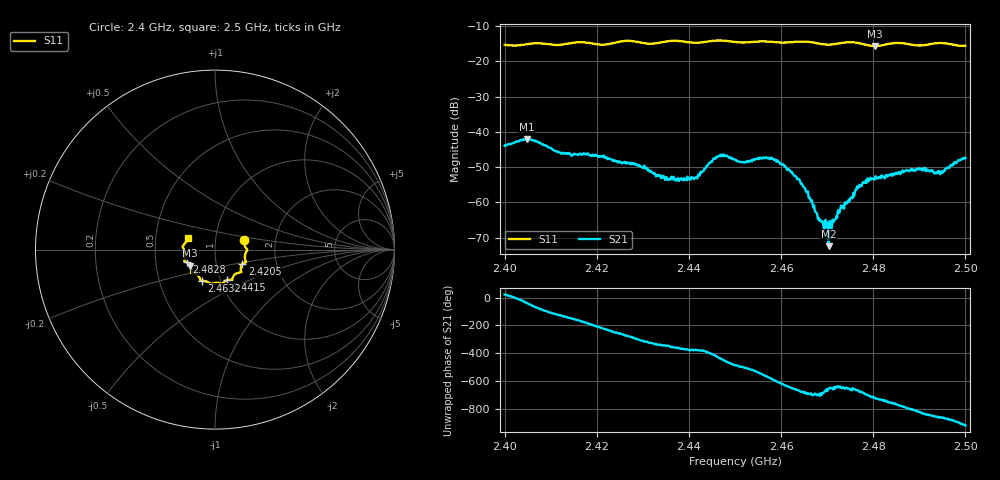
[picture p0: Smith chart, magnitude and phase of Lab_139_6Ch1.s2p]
# Hz S RI R 50
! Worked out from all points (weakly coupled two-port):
!   601 points, 2.4 GHz to 2.5 GHz, reference 50 ohm
!   highest |S21| = -42.02 dB at 2.4048 GHz (marker M1); lowest = -72.4 dB at 2.4703 GHz (marker M2)
!   lowest |S11| = -15.7 dB at 2.4803 GHz (marker M3), VSWR 1.39, Z = 37.3 - j6.84 ohm
!   |S11| at or under -10 dB: start of sweep to end of sweep
!   S12 and S22 are empty: the file has one direction only
!   S11 on the Smith chart (normalised r, x): 2.4 GHz: 1.38, +0.15; 2.4205 GHz: 1.34, -0.22; 2.4415 GHz: 1.07, -0.38; 2.4632 GHz: 0.82, -0.29; 2.4828 GHz: 0.72, -0.10; 2.5 GHz: 0.73, +0.10
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2.4e9  0.1635 0.0515  0.00592 0.00231  0 0  0 0
2.404833e9  0.1748 0.00514  0.00611 -0.00505  0 0  0 0
2.412333e9  0.1667 -0.0408  -0.00307 -0.0038  0 0  0 0
2.416667e9  0.173 -0.0699  -0.00475 -0.000845  0 0  0 0
2.4205e9  0.1521 -0.0816  -0.00385 0.00238  0 0  0 0
2.428167e9  0.1434 -0.1272  0.00119 0.00325  0 0  0 0
2.433333e9  0.1005 -0.1515  0.00226 0.000933  0 0  0 0
2.4415e9  0.0656 -0.1708  0.0022 -0.00054  0 0  0 0
2.4465e9  0.0406 -0.193  0.0014 -0.0043  0 0  0 0
2.45e9  0.0244 -0.1863  -0.00233 -0.0033  0 0  0 0
2.458333e9  -0.0337 -0.1847  -0.00262 0.00318  0 0  0 0
2.463167e9  -0.0734 -0.174  0.00107 0.00211  0 0  0 0
2.466667e9  -0.0821 -0.167  0.000995 0.000411  0 0  0 0
2.468333e9  -0.0871 -0.1547  0.000525 0.000154  0 0  0 0
2.470333e9  -0.102 -0.1389  8.6e-05 0.000224  0 0  0 0
2.476667e9  -0.1323 -0.1249  0.000939 0.0013  0 0  0 0
2.480333e9  -0.1379 -0.0891  0.00211 7.22e-05  0 0  0 0
2.482833e9  -0.1587 -0.07  0.00229 -0.000868  0 0  0 0
2.483333e9  -0.1627 -0.068  0.00211 -0.00115  0 0  0 0
2.49e9  -0.1659 -0.0222  -0.00062 -0.003  0 0  0 0
2.495e9  -0.1804 0.0192  -0.00201 -0.00165  0 0  0 0
2.5e9  -0.1525 0.0644  -0.00402 0.00132  0 0  0 0
